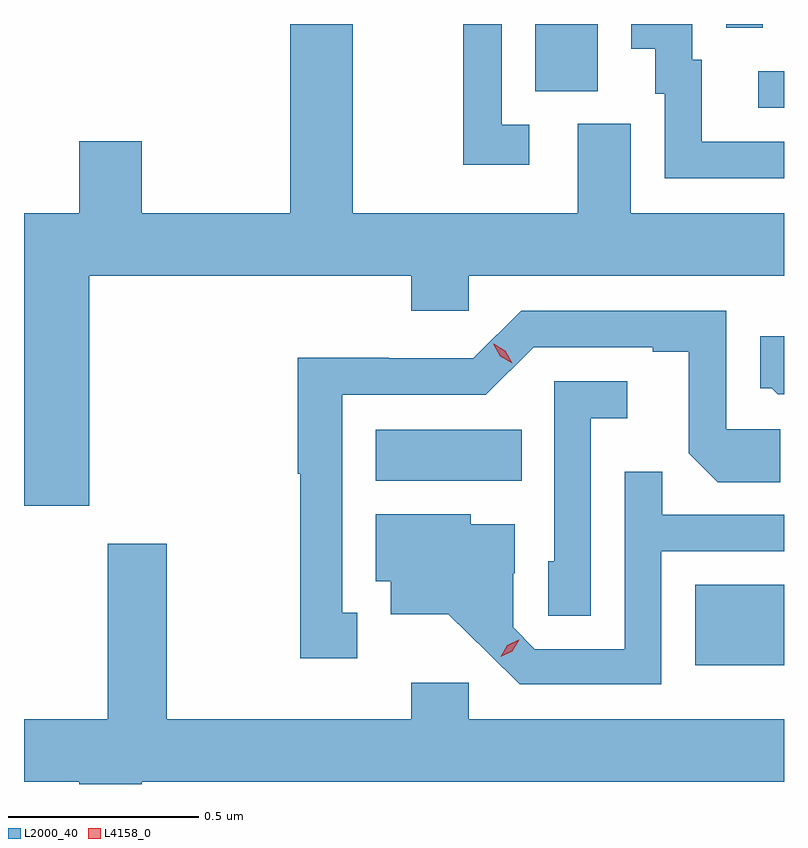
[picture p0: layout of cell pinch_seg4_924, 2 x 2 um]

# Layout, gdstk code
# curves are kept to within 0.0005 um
import gdstk
lib = gdstk.Library(unit=1e-6, precision=1e-09)
def R(c, l, rs):  # rectangles x0, y0, x1, y1
    for r in rs: c.add(gdstk.rectangle(r[:2], r[2:], *l))
def P(c, l, *ps):  # polygons
    for p in ps: c.add(gdstk.Polygon(p, *l))
L2000_40 = (2000, 40)
L4158_0 = (4158, 0)

pinch_seg4_924 = lib.new_cell('pinch_seg4_924')
R(pinch_seg4_924, L2000_40, [(730.064,826.43,730.298,826.642), (729.224,826.916,729.608,827.05), (730.23,827.898,730.298,827.994), (729.644,827.941,729.808,828.118), (730.146,828.108,730.242,828.118)])
P(pinch_seg4_924, L2000_40, [(730.298,827.808),(730.081,827.808),(730.081,828.024),(730.057,828.024),(730.057,828.118),(729.896,828.118),(729.896,828.053),(729.959,828.053),(729.959,827.934),(729.984,827.934),(729.984,827.712),(730.298,827.712)],
  [(728.47,827.456),(729.317,827.456),(729.317,827.363),(729.468,827.363),(729.468,827.456),(730.298,827.456),(730.298,827.62),(729.895,827.62),(729.895,827.856),(729.755,827.856),(729.755,827.62),(729.163,827.62),(729.163,828.118),(728.999,828.118),(728.999,827.62),(728.608,827.62),(728.608,827.809),(728.444,827.809),(728.444,827.62),(728.298,827.62),(728.298,826.85),(728.47,826.85)],
  [(729.628,827.853),(729.555,827.853),(729.555,828.118),(729.454,828.118),(729.454,827.748),(729.628,827.748)],
  [(729.175,826.569),(729.136,826.569),(729.136,827.142),(729.513,827.142),(729.639,827.268),(729.953,827.268),(729.953,827.256),(730.047,827.256),(730.047,826.988),(730.123,826.912),(730.288,826.912),(730.288,827.052),(730.146,827.052),(730.146,827.364),(729.606,827.364),(729.48,827.238),(729.258,827.238),(729.258,827.24),(729.018,827.24),(729.018,826.935),(729.025,826.935),(729.025,826.449),(729.175,826.449)],
  [(730.298,827.296),(730.235,827.296),(730.235,827.16),(730.266,827.16),(730.282,827.144),(730.298,827.144)],
  [(729.789,827.081),(729.886,827.081),(729.886,827.178),(729.693,827.178),(729.693,826.704),(729.678,826.704),(729.678,826.561),(729.789,826.561)],
  [(729.975,826.731),(730.298,826.731),(730.298,826.827),(729.977,826.827),(729.977,826.94),(729.879,826.94),(729.879,826.473),(729.642,826.473),(729.585,826.53),(729.585,826.672),(729.589,826.672),(729.589,826.801),(729.474,826.801),(729.474,826.828),(729.224,826.828),(729.224,826.652),(729.263,826.652),(729.263,826.565),(729.415,826.565),(729.602,826.38),(729.975,826.38)],
  [(728.608,826.124),(730.298,826.124),(730.298,826.288),(729.468,826.288),(729.468,826.384),(729.317,826.384),(729.317,826.288),(728.673,826.288),(728.673,826.75),(728.518,826.75),(728.518,826.288),(728.298,826.288),(728.298,826.124),(728.444,826.124),(728.444,826.118),(728.608,826.118)])
P(pinch_seg4_924, L4158_0, [(729.552,826.453),(729.552,826.453),(729.57,826.483),(729.6,826.498),(729.601,826.498),(729.601,826.498),(729.583,826.468),(729.553,826.453)],
  [(729.583,827.225),(729.551,827.244),(729.533,827.277),(729.533,827.277),(729.534,827.277),(729.565,827.258),(729.583,827.225),(729.583,827.225)])

lib.write_gds('pinch_seg4_924.gds')
